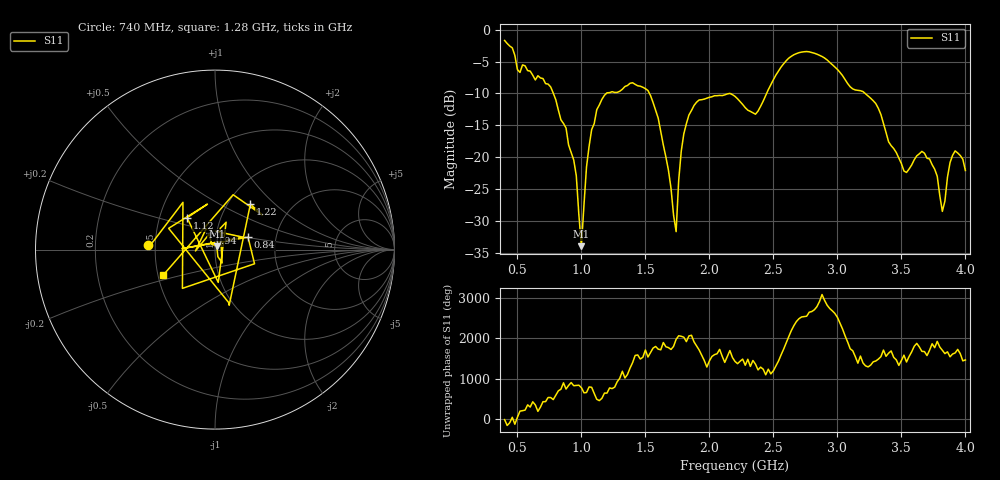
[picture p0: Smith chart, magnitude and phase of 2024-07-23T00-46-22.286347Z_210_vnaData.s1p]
!Created with skrf (http://scikit-rf.org).
# Hz S RI R 50.0
!freq ReS11 ImS11
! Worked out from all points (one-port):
!   181 points, 400 MHz to 4 GHz, reference 50 ohm
!   lowest |S11| = -33.9 dB at 1 GHz (marker M1), VSWR 1.04, Z = 51 + j1.77 ohm
!   |S11| at or under -10 dB: 781 MHz to 1.195 GHz (413.9 MHz wide, 41.9 % of centre); 1.532 GHz to 2.158 GHz (626 MHz wide, 33.9 % of centre); 3.217 GHz to end of sweep (the widest 3 of 4)
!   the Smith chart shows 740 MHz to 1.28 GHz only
!   S11 on the Smith chart (normalised r, x): 740 MHz: 0.46, +0.02; 840 MHz: 1.43, +0.21; 940 MHz: 0.93, +0.17; 1.12 GHz: 0.69, +0.26; 1.22 GHz: 1.27, +0.71; 1.28 GHz: 0.53, -0.17
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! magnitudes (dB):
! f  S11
! 400 MHz  -1.7
! 520 MHz  -6.7
! 740 MHz  -8.5
! 840 MHz  -14.1
! 860 MHz  -14.7
! 940 MHz  -20.4
! 1 GHz  -33.9
! 1.04 GHz  -21.5
! 1.12 GHz  -12.5
! 1.22 GHz  -9.9
! 1.28 GHz  -9.8
! 1.3 GHz  -9.7
! 1.54 GHz  -10.3
! 1.68 GHz  -22.0
! 1.74 GHz  -31.6
! 1.76 GHz  -23.6
! 1.8 GHz  -16.3
! 1.88 GHz  -11.9
! 2.2 GHz  -10.5
! 2.36 GHz  -13.2
! 2.66 GHz  -3.9
! 3.1 GHz  -9.0
! 3.3 GHz  -11.6
! 3.56 GHz  -21.8
! 3.72 GHz  -20.3
! 3.82 GHz  -28.5
! 3.9 GHz  -19.7
! 4 GHz  -22.1
